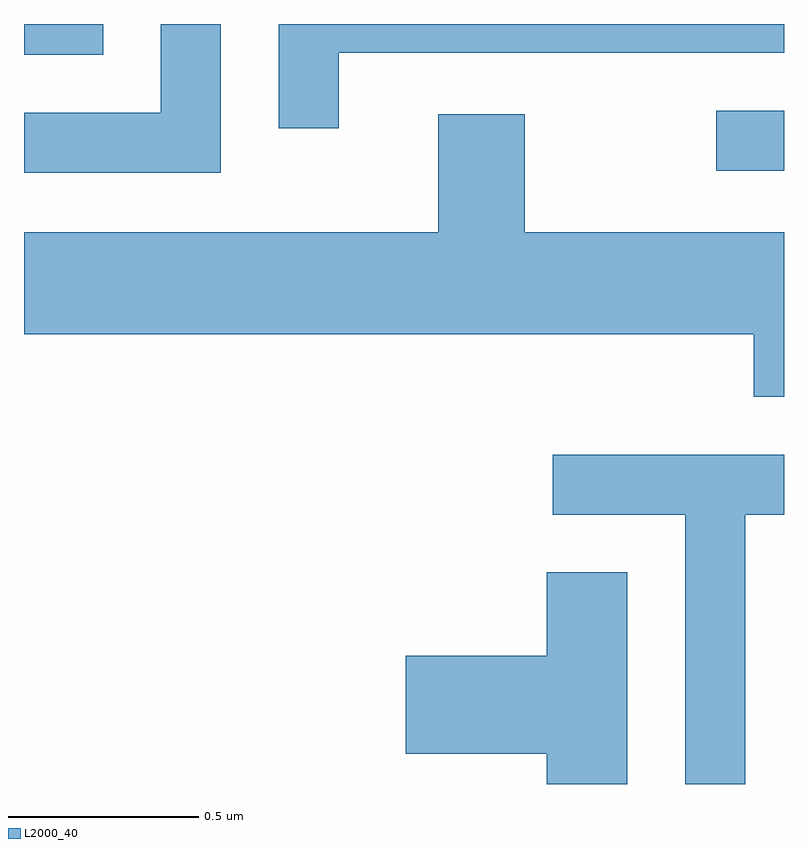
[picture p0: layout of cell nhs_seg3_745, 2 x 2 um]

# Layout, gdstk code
import gdstk
lib = gdstk.Library(unit=1e-6, precision=1e-09)
def R(c, l, rs):  # rectangles x0, y0, x1, y1
    for r in rs: c.add(gdstk.rectangle(r[:2], r[2:], *l))
def P(c, l, *ps):  # polygons
    for p in ps: c.add(gdstk.Polygon(p, *l))
L2000_40 = (2000, 40)

nhs_seg3_745 = lib.new_cell('nhs_seg3_745')
R(nhs_seg3_745, L2000_40, [(192.433,1177.506,192.611,1177.664), (190.611,1177.811,190.819,1177.892)])
P(nhs_seg3_745, L2000_40, [(191.129,1177.892),(190.971,1177.892),(190.971,1177.659),(190.611,1177.659),(190.611,1177.501),(191.129,1177.501)],
  [(191.439,1177.816),(192.611,1177.816),(192.611,1177.892),(191.281,1177.892),(191.281,1177.618),(191.439,1177.618)],
  [(192.611,1177.344),(191.929,1177.344),(191.929,1177.654),(191.701,1177.654),(191.701,1177.344),(190.611,1177.344),(190.611,1177.076),(192.531,1177.076),(192.531,1176.911),(192.611,1176.911)],
  [(192.509,1176.601),(192.611,1176.601),(192.611,1176.759),(192.003,1176.759),(192.003,1176.601),(192.351,1176.601),(192.351,1175.892),(192.509,1175.892)],
  [(192.199,1176.449),(191.986,1176.449),(191.986,1176.229),(191.616,1176.229),(191.616,1175.971),(191.986,1175.971),(191.986,1175.892),(192.199,1175.892)])

lib.write_gds('nhs_seg3_745.gds')
